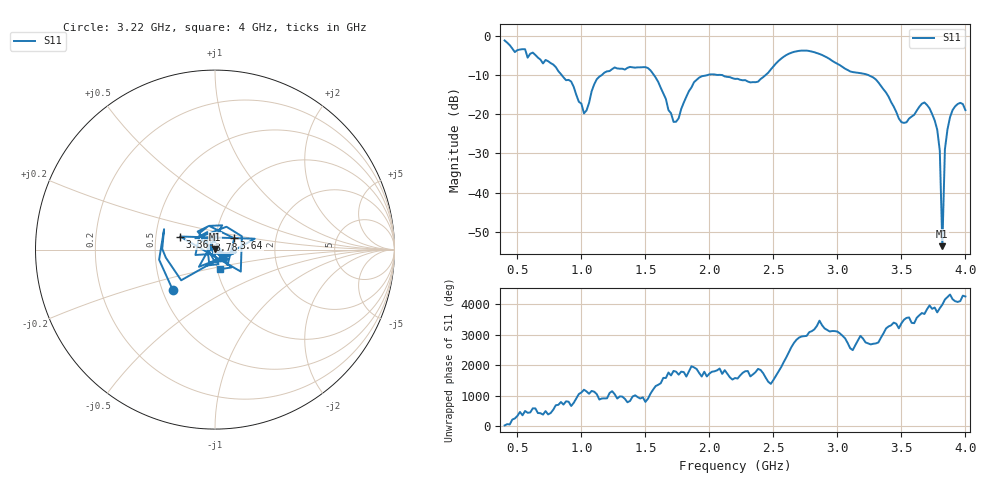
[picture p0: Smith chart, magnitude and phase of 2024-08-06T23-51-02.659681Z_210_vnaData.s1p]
!Created with skrf (http://scikit-rf.org).
# Hz S RI R 50.0
!freq ReS11 ImS11
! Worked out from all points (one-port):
!   181 points, 400 MHz to 4 GHz, reference 50 ohm
!   lowest |S11| = -53.7 dB at 3.82 GHz (marker M1), VSWR 1.00, Z = 50.2 + j0.0687 ohm
!   |S11| at or under -10 dB: 1.566 GHz to 1.987 GHz (421.1 MHz wide, 23.7 % of centre); 2.094 GHz to 2.44 GHz (345.6 MHz wide, 15.2 % of centre); 3.24 GHz to end of sweep (the widest 3 of 4)
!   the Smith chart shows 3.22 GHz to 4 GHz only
!   S11 on the Smith chart (normalised r, x): 3.22 GHz: 0.57, -0.28; 3.36 GHz: 0.67, +0.10; 3.64 GHz: 1.23, +0.16; 3.78 GHz: 0.92, +0.10; 4 GHz: 1.04, -0.23
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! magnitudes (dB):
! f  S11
! 400 MHz  -1.2
! 860 MHz  -10.6
! 920 MHz  -11.7
! 1.02 GHz  -19.8
! 1.12 GHz  -11.1
! 1.3 GHz  -8.4
! 1.52 GHz  -8.2
! 1.6 GHz  -11.8
! 1.72 GHz  -22.0
! 1.76 GHz  -21.0
! 1.92 GHz  -10.7
! 2.2 GHz  -11.0
! 2.38 GHz  -11.7
! 2.66 GHz  -4.1
! 3.1 GHz  -9.1
! 3.22 GHz  -9.8
! 3.36 GHz  -13.7
! 3.5 GHz  -22.0
! 3.56 GHz  -21.1
! 3.64 GHz  -18.1
! 3.7 GHz  -17.6
! 3.78 GHz  -24.0
! 3.8 GHz  -29.3
! 3.82 GHz  -53.7
! 3.84 GHz  -29.0
! 3.86 GHz  -23.9
! 3.92 GHz  -18.0
! 4 GHz  -19.0
